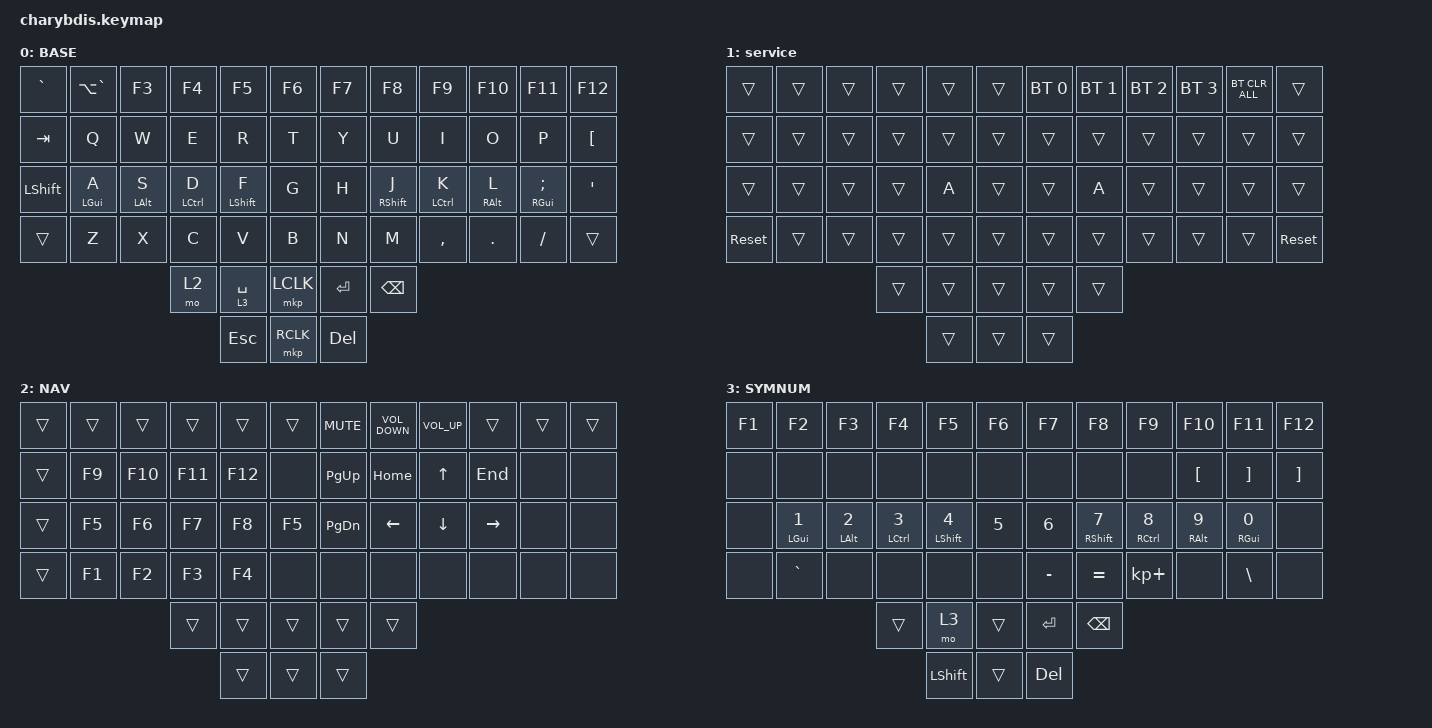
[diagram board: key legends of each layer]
#include <dt-bindings/zmk/mouse.h>
#include <behaviors.dtsi>
#include <dt-bindings/zmk/bt.h>
#include <dt-bindings/zmk/keys.h>

/ {
    combos {
        compatible = "zmk,combos";

        langchange {
            bindings = <&kp LG(SPACE)>;
            key-positions = <16 19>;
        };

        middle_click {
            bindings = <&mkp MCLK>;
            key-positions = <50 54>;
        };

        layer_service {
            bindings = <&mo 1>;
            key-positions = <48 49 50>;
        };

        R_left_click {
            bindings = <&mkp LCLK>;
            key-positions = <19 20>;
        };

        R_right_click {
            bindings = <&mkp RCLK>;
            key-positions = <20 21>;
        };

        tab {
            bindings = <&kp TAB>;
            key-positions = <49 53>;
        };
    };

    behaviors {
        homerow: homerow {
            compatible = "zmk,behavior-hold-tap";
            label = "HOMEROW";
            bindings = <&kp>, <&kp>;

            #binding-cells = <2>;
            tapping-term-ms = <175>;
            quick-tap-ms = <199>;
            flavor = "tap-preferred";

            // flavor = "balanced";
            // flavor = "tap-unless-interrupted";
            // test hold-trigger-key-positions

            hold-trigger-key-positions = <0>;
        };
    };

    keymap {
        compatible = "zmk,keymap";

        BASE {
            bindings = <
&kp GRAVE       &kp LA(GRAVE)        &kp F3               &kp F4            &kp F5                 &kp F6       &kp F7      &kp F8                  &kp F9            &kp F10               &kp F11                  &kp F12
&kp TAB         &kp Q                &kp W                &kp E             &kp R                  &kp T        &kp Y       &kp U                   &kp I             &kp O                 &kp P                    &kp LEFT_BRACKET
&kp LEFT_SHIFT  &homerow LEFT_GUI A  &homerow LEFT_ALT S  &homerow LCTRL D  &homerow LEFT_SHIFT F  &kp G        &kp H       &homerow RIGHT_SHIFT J  &homerow LCTRL K  &homerow RIGHT_ALT L  &homerow RIGHT_GUI SEMI  &kp SQT
&trans          &kp Z                &kp X                &kp C             &kp V                  &kp B        &kp N       &kp M                   &kp COMMA         &kp DOT               &kp FSLH                 &trans
                                                          &mo 2             &lt 3 SPACE            &mkp LCLK    &kp RET     &kp BACKSPACE
                                                                            &kp ESC                &mkp RCLK    &kp DELETE
            >;
        };

        service {
            bindings = <
&trans      &trans  &trans  &trans  &trans  &trans    &bt BT_SEL 0  &bt BT_SEL 1  &bt BT_SEL 2  &bt BT_SEL 3  &bt BT_CLR_ALL  &trans
&trans      &trans  &trans  &trans  &trans  &trans    &trans        &trans        &trans        &trans        &trans          &trans
&trans      &trans  &trans  &trans  &kp A   &trans    &trans        &kp A         &trans        &trans        &trans          &trans
&sys_reset  &trans  &trans  &trans  &trans  &trans    &trans        &trans        &trans        &trans        &trans          &sys_reset
                            &trans  &trans  &trans    &trans        &trans
                                    &trans  &trans    &trans
            >;
        };

        NAV {
            bindings = <
&trans  &trans  &trans   &trans   &trans   &trans    &kp K_MUTE     &kp C_VOLUME_DOWN  &kp C_VOLUME_UP  &trans     &trans  &trans
&trans  &kp F9  &kp F10  &kp F11  &kp F12  &none     &kp PG_UP      &kp HOME           &kp UP_ARROW     &kp END    &none   &none
&trans  &kp F5  &kp F6   &kp F7   &kp F8   &kp F5    &kp PAGE_DOWN  &kp LEFT           &kp DOWN_ARROW   &kp RIGHT  &none   &none
&trans  &kp F1  &kp F2   &kp F3   &kp F4   &none     &none          &none              &none            &none      &none   &none
                         &trans   &trans   &trans    &trans         &trans
                                  &trans   &trans    &trans
            >;
        };

        SYMNUM {
            bindings = <
&kp F1  &kp F2                      &kp F3                      &kp F4                   &kp F5                        &kp F6          &kp F7        &kp F8                   &kp F9             &kp F10                      &kp F11                &kp F12
&none   &none                       &none                       &none                    &none                         &none           &none         &none                    &none              &kp LEFT_BRACKET             &kp RIGHT_BRACKET      &kp RIGHT_BRACKET
&none   &homerow LEFT_GUI NUMBER_1  &homerow LEFT_ALT NUMBER_2  &homerow LCTRL NUMBER_3  &homerow LEFT_SHIFT NUMBER_4  &kp NUMBER_5    &kp NUMBER_6  &homerow RIGHT_SHIFT N7  &homerow RCTRL N8  &homerow RIGHT_ALT NUMBER_9  &homerow RIGHT_GUI N0  &none
&none   &kp GRAVE                   &none                       &none                    &none                         &none           &kp MINUS     &kp EQUAL                &kp KP_PLUS        &none                        &kp BACKSLASH          &none
                                                                &trans                   &mo 3                         &trans          &kp ENTER     &kp BSPC
                                                                                         &kp LEFT_SHIFT                &trans          &kp DEL
            >;
        };
    };
};
